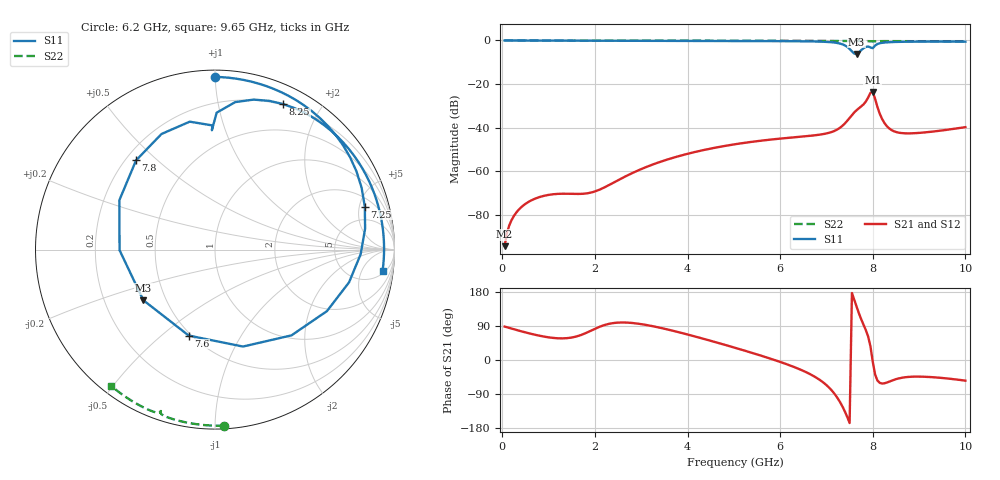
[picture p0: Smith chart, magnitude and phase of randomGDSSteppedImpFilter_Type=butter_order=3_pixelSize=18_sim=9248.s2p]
! freq	dB(S11)	phase(S11)	dB(S12)	phase(S12)
!  dB(S21)	phase(S21)	dB(S22)	phase(S22)
!S-par simulation data
#  GHz  S  DB  R 50
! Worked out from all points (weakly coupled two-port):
!   200 points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, 50 MHz to 10 GHz, reference 50 ohm
!   highest |S21| = -23.56 dB at 8 GHz (marker M1); lowest = -94.3 dB at 50 MHz (marker M2)
!   lowest |S11| = -6.2 dB at 7.65 GHz (marker M3), VSWR 2.91, Z = 18.7 - j13.8 ohm
!   |S11| at or under -10 dB: nowhere
!   |S22| runs from -0.5 to 0.0 dB; largest |S21 - S12| = 0
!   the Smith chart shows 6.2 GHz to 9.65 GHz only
!   S11 on the Smith chart (normalised r, x): 6.2 GHz: 0.04, +1.00; 7.25 GHz: 2.90, +5.66; 7.6 GHz: 0.49, -0.62; 7.8 GHz: 0.24, +0.43; 8.25 GHz: 0.19, +1.56; 9.65 GHz: 6, -13
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0.05  -0.00 -2.9  -94.29 88.2  -94.29 88.2  -0.00 -0.8
0.95  -0.07 -52.4  -70.98 60.7  -70.98 60.7  -0.02 -14.3
1.75  -0.11 -92.2  -70.27 68.3  -70.27 68.3  -0.03 -26.2
2.6  -0.14 -129.4  -62.95 99.0  -62.95 99.0  -0.05 -38.6
3.4  -0.17 -161.0  -55.72 85.3  -55.72 85.3  -0.07 -49.9
4.2  -0.20 169.1  -50.93 60.8  -50.93 60.8  -0.09 -60.9
5.05  -0.24 137.3  -47.49 31.4  -47.49 31.4  -0.11 -72.2
6.2  -0.33 90.2  -44.59 -13.8  -44.59 -13.8  -0.16 -86.9
6.7  -0.45 64.5  -43.59 -40.8  -43.59 -40.8  -0.18 -93.1
7.25  -1.22 16.0  -40.61 -102.5  -40.61 -102.5  -0.21 -99.9
7.45  -2.95 -28.8  -36.79 -150.6  -36.79 -150.6  -0.23 -102.3
7.6  -6.01 -107.0  -33.00 158.7  -33.00 158.7  -0.24 -104.1
7.65  -6.22 -144.8  -31.97 140.6  -31.97 140.6  -0.24 -104.7
7.7  -5.48 -179.7  -31.11 123.4  -31.11 123.4  -0.25 -105.4
7.8  -3.56 131.5  -29.32 93.1  -29.32 93.1  -0.27 -106.7
7.9  -2.77 101.2  -26.17 62.0  -26.17 62.0  -0.32 -108.1
8  -3.54 91.5  -23.56 -4.7  -23.56 -4.7  -0.46 -108.5
8.25  -0.96 64.9  -37.78 -61.4  -37.78 -61.4  -0.30 -111.2
8.35  -0.80 56.4  -40.23 -57.3  -40.23 -57.3  -0.30 -112.4
8.9  -0.54 24.1  -42.52 -43.9  -42.52 -43.9  -0.34 -118.9
9.65  -0.53 -7.1  -40.81 -49.3  -40.81 -49.3  -0.41 -127.4
10  -0.56 -19.7  -39.74 -54.6  -39.74 -54.6  -0.45 -131.4
